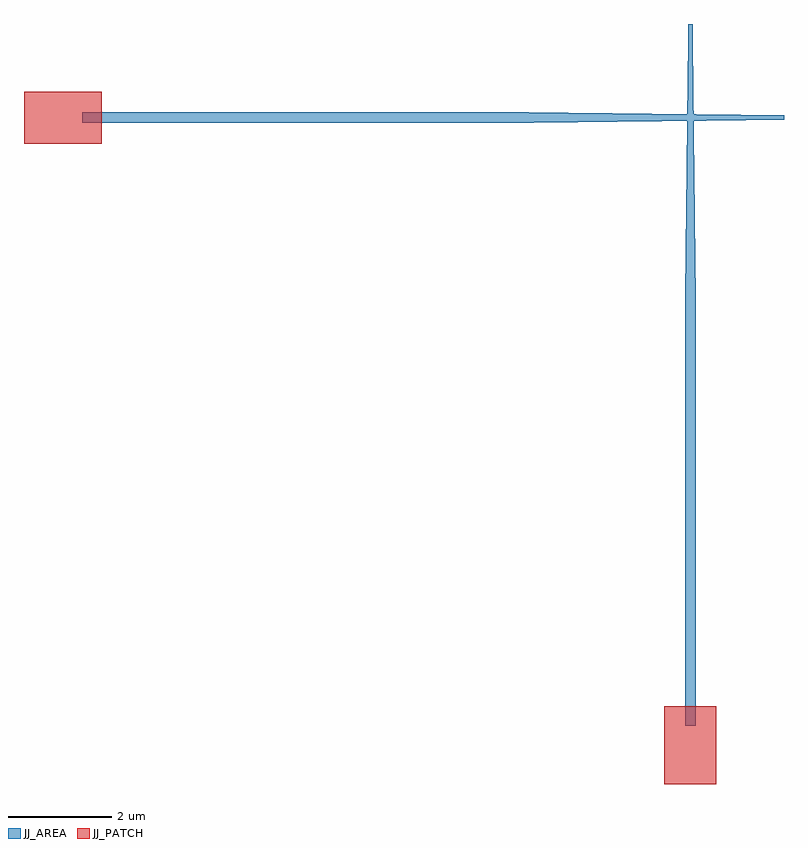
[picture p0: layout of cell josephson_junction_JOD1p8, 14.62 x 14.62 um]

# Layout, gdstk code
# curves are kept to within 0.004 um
from math import pi, radians
import gdstk
lib = gdstk.Library(unit=1e-6, precision=1e-09)
def R(c, l, rs):  # rectangles x0, y0, x1, y1
    for r in rs: c.add(gdstk.rectangle(r[:2], r[2:], *l))
def P(c, l, *ps):  # polygons
    for p in ps: c.add(gdstk.Polygon(p, *l))
JJ_AREA = (20, 0)
JJ_PATCH = (20, 1)

straight_l8p3_csjosephs_ = lib.new_cell('straight_L8p3_CSjosephs_ef5e4753')
R(straight_l8p3_csjosephs_, JJ_AREA, [(0,-0.1,8.3,0.1)])

taper_cross_section_gds_ = lib.new_cell('taper_cross_section_gds_41aa5fb2')
P(taper_cross_section_gds_, JJ_AREA, [(0,-0.1),(0,0.1),(4.7,0.045),(4.7,-0.045)])

straight_l0p5_csjosephs_ = lib.new_cell('straight_L0p5_CSjosephs_8a87dbad')
R(straight_l0p5_csjosephs_, JJ_AREA, [(0,-0.045,0.5,0.045)])

rectangle_gdsfactorypco_ = lib.new_cell('rectangle_gdsfactorypco_4f32cade')
R(rectangle_gdsfactorypco_, JJ_PATCH, [(-0.75,-0.5,0.75,0.5)])

single_josephson_juncti_ = lib.new_cell('single_josephson_juncti_05ba299d')
single_josephson_juncti_.add(gdstk.Reference(straight_l8p3_csjosephs_, (0,0)))
single_josephson_juncti_.add(gdstk.Reference(taper_cross_section_gds_, (8.3,0)))
single_josephson_juncti_.add(gdstk.Reference(straight_l0p5_csjosephs_, (13,0)))
single_josephson_juncti_.add(gdstk.Reference(rectangle_gdsfactorypco_, (-0.375,0)))

josephson_junction_jod1p = lib.new_cell('josephson_junction_JOD1p8')
josephson_junction_jod1p.add(gdstk.Reference(single_josephson_juncti_, (13.5,-11.7), rotation=pi/2))
josephson_junction_jod1p.add(gdstk.Reference(single_josephson_juncti_, (1.8,0)))

lib.write_gds('josephson_junction_JOD1p8.gds')
